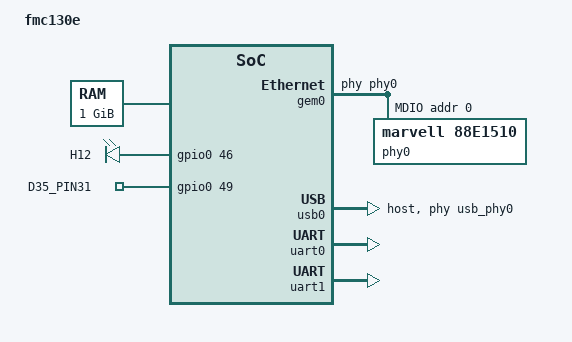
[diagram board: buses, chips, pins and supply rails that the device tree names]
/* /include/ "zdev.dtsi" */
/include/ "axidev.dtsi"

/ {
        model = "fmc130e";
        aliases {
                serial0 = &uart0;
                ethernet0 = &gem0;
        };
        chosen {
/*                bootargs = "console=ttyPS0,115200 earlyprintk root=/dev/nfs nfsroot=192.168.0.102:/tftpboot/nfsroot-fmc130e, tcp ip=dhcp rw";*/
/*                ip=<client-IP-number>::<gateway-IP-number>:<netmask>:<client-hostname>:eth0:off */
/*                bootargs = "console=ttyPS0,115200 earlyprintk root=/dev/nfs nfsroot=192.168.1.41:/tftpboot/nfsroot-fmc130e, tcp ip=192.168.1.44::192.168.1.1:255.255.255.0:fmc130e:eth0:off rw";*/
/*                bootargs = "console=ttyPS0,115200 earlyprintk root=/dev/mmcblk0p2 rootfstype=ext4 nolock rw rootwait ip=192.168.0.170::192.168.0.1:255.255.255.0:fmc130e:eth0:off";*/
                bootargs = "console=ttyPS0,115200 earlyprintk root=/dev/mmcblk0p2 rootfstype=ext4 nolock rw rootwait ip=dhcp";
                stdout-path = "serial0:115200ns";
        };
        memory {
                device_type = "memory";
                reg = <0x0 0x40000000>;
        };

        leds {
                compatible = "gpio-leds";

                H12 {
                        label = "H12";
                        gpios = <&gpio0 46 0>;
                        linux,default-trigger = "heartbeat";
                };

                D35_PIN31 {
                    gpios = <&gpio0 49 0>;
                    default-state = "off";
                };
        };

        usb_phy0: phy0@e0002000 {
                compatible = "ulpi-phy";
                #phy-cells = <0>;
                reg = <0xe0002000 0x1000>;
                view-port = <0x0170>;
                drv-vbus;
        };
};

// FMC130E v 1.1
/*
&gem0 {
    phy-handle = <&phy0>;
    ps7_ethernet_0_mdio: mdio {
        phy0: phy@1 {
            compatible = "ethernet-phy-id0282.F014";
            device_type = "ethernet-phy";
            reg = <1>;
        };
    };
};
*/

// FMC130E v 1.2
&gem0 {
    phy-handle = <&phy0>;
    ps7_ethernet_0_mdio: mdio {
        #address-cells = <0x1>;
        #size-cells = <0x0>;
        phy0: phy@0 {
            compatible = "marvell,88e1510";
            device_type = "ethernet-phy";
            reg = <0>;
        };
    };
};

&usb0 {
    status = "okay";
    usb-phy = <&usb_phy0>;
    phy_type = "ulpi";
    dr_mode = "host";
};

&uart0 {
    status = "okay";
};

&uart1 {
    status = "okay";
};
